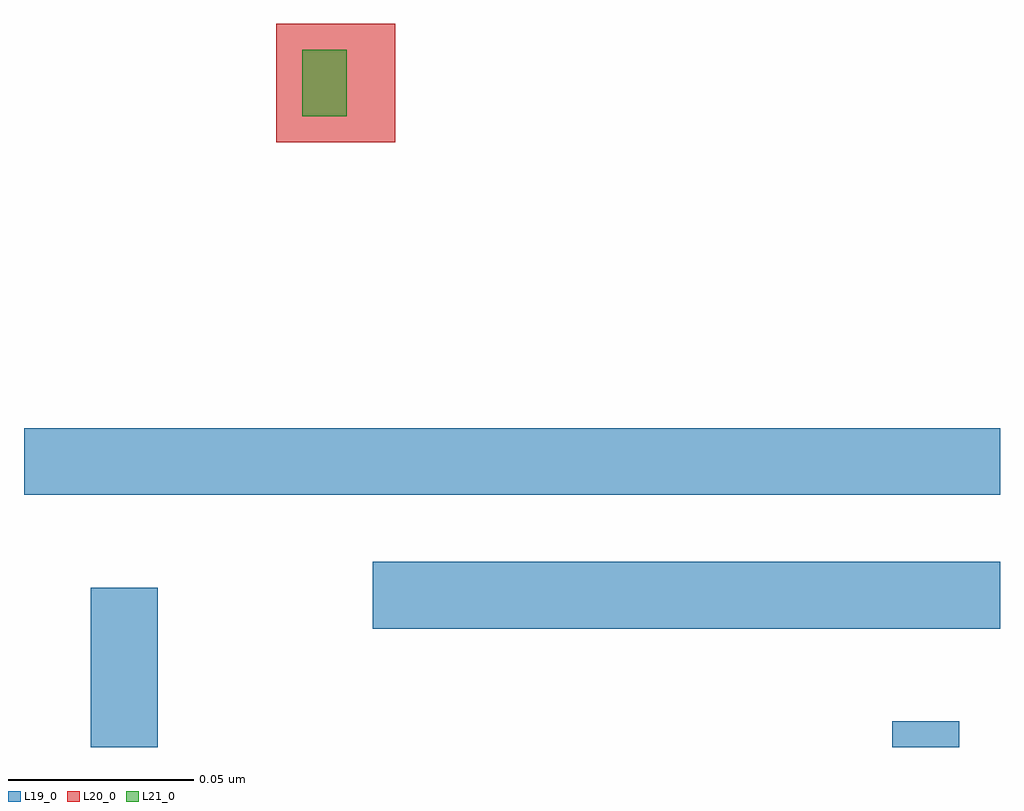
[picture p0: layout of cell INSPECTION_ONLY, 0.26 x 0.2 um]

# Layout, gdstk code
import gdstk
lib = gdstk.Library(unit=1e-6, precision=2.5e-10)
def R(c, l, rs):  # rectangles x0, y0, x1, y1
    for r in rs: c.add(gdstk.rectangle(r[:2], r[2:], *l))
L19_0 = (19, 0)
L20_0 = (20, 0)
L21_0 = (21, 0)

inspection_only = lib.new_cell('INSPECTION_ONLY')
R(inspection_only, L19_0, [(4.018,0.193,4.036,0.236), (4.234,0.193,4.252,0.2), (4.094,0.225,4.263,0.243), (4,0.261,4.263,0.279)])
R(inspection_only, L20_0, [(4.068,0.356,4.1,0.388)])
R(inspection_only, L21_0, [(4.075,0.363,4.087,0.381)])

lib.write_gds('INSPECTION_ONLY.gds')
